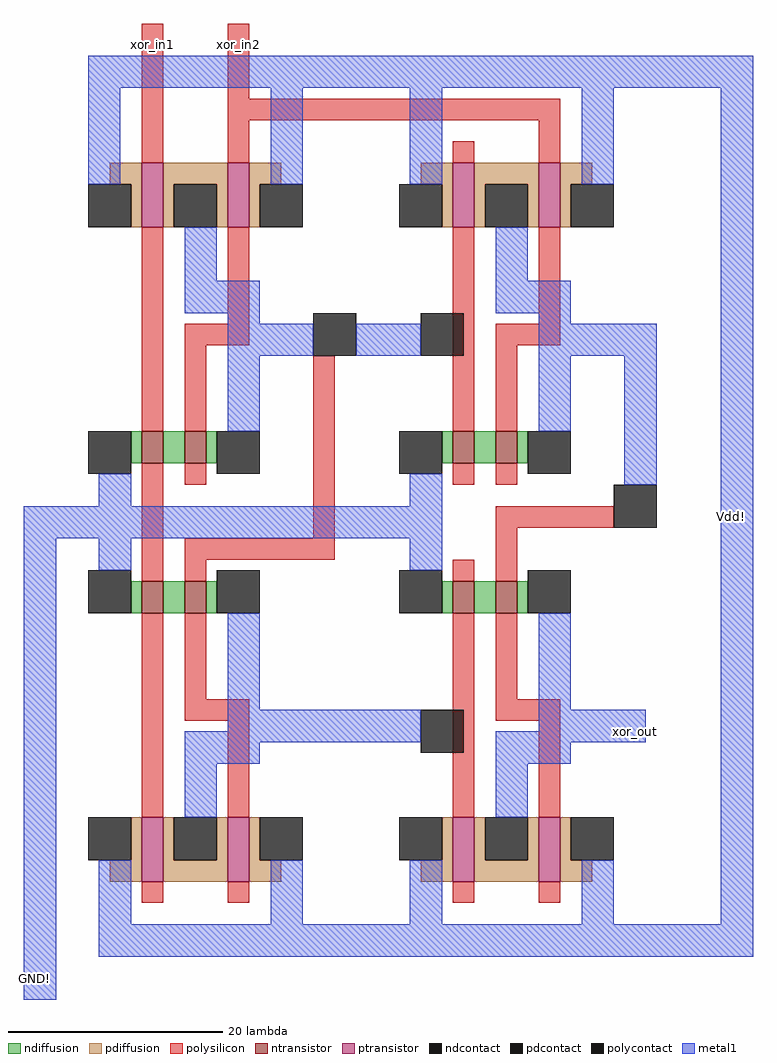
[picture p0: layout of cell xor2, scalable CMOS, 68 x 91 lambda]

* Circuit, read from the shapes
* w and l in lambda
.subckt xor2 GND! Vdd! xor_in1 xor_in2 xor_out
M1 n1 xor_in1 GND! VSUBS nfet w=3 l=2
M2 n2 xor_in1 GND! VSUBS nfet w=3 l=2
M3 nand2_4/nand_in1 nand2_2/nand_in1 n1 VSUBS nfet w=3 l=2
M4 nand2_2/nand_in1 xor_in2 n2 VSUBS nfet w=3 l=2
M5 n3 nand2_4/nand_in1 GND! VSUBS nfet w=3 l=2
M6 n4 nand2_2/nand_in1 GND! VSUBS nfet w=3 l=2
M7 xor_out nand2_4/nand_in2 n3 VSUBS nfet w=3 l=2
M8 nand2_4/nand_in2 xor_in2 n4 VSUBS nfet w=3 l=2
M9 nand2_4/nand_in1 xor_in1 Vdd! NWELL pfet w=6 l=2
M10 nand2_2/nand_in1 xor_in1 Vdd! NWELL pfet w=6 l=2
M11 Vdd! nand2_2/nand_in1 nand2_4/nand_in1 NWELL pfet w=6 l=2
M12 Vdd! xor_in2 nand2_2/nand_in1 NWELL pfet w=6 l=2
M13 xor_out nand2_4/nand_in1 Vdd! NWELL pfet w=6 l=2
M14 nand2_4/nand_in2 nand2_2/nand_in1 Vdd! NWELL pfet w=6 l=2
M15 Vdd! nand2_4/nand_in2 xor_out NWELL pfet w=6 l=2
M16 Vdd! xor_in2 nand2_4/nand_in2 NWELL pfet w=6 l=2
.ends

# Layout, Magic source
magic
tech scmos
<< polysilicon >>
rect -36 18 -34 29
rect -28 22 -26 29
rect -28 20 3 22
rect -28 18 -26 20
rect 1 18 3 20
rect -36 -21 -34 -14
rect -20 -19 -18 -2
rect -32 -21 -18 -19
rect -3 -18 8 -16
rect -3 -21 -1 -18
<< metal1 >>
rect -41 23 21 26
rect -41 14 -38 23
rect -24 14 -21 23
rect -11 14 -8 23
rect 5 14 8 23
rect -25 -2 -20 1
rect -16 -2 -10 1
rect 4 -2 12 1
rect -40 -16 -37 -13
rect -11 -16 -8 -13
rect 9 -14 12 -2
rect -47 -19 -8 -16
rect -47 -62 -44 -19
rect -40 -22 -37 -19
rect -11 -22 -8 -19
rect -25 -38 -10 -35
rect 4 -38 11 -35
rect -40 -55 -37 -49
rect -24 -55 -21 -49
rect -11 -55 -8 -49
rect 5 -55 8 -49
rect 18 -55 21 23
rect -40 -58 21 -55
<< polycontact >>
rect -20 -2 -16 2
rect -10 -2 -6 2
rect 8 -18 12 -14
rect -10 -39 -6 -35
use nand2 nand2_1
transform 1 0 3 0 1 -6
box -44 -8 -24 24
use nand2 nand2_2
transform 1 0 32 0 1 -6
box -44 -8 -24 24
use nand2 nand2_3
transform 1 0 3 0 -1 -29
box -44 -8 -24 24
use nand2 nand2_4
transform 1 0 32 0 -1 -29
box -44 -8 -24 24
<< labels >>
rlabel polysilicon -27 27 -27 27 1 xor_in2
rlabel metal1 19 -17 19 -17 1 Vdd!
rlabel metal1 -46 -60 -46 -60 1 GND!
rlabel metal1 10 -37 10 -37 1 xor_out
rlabel polysilicon -35 27 -35 27 5 xor_in1
<< end >>

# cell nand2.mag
magic
tech scmos
<< polysilicon >>
rect -39 22 -37 24
rect -31 22 -29 24
rect -39 -3 -37 16
rect -31 7 -29 16
rect -35 5 -29 7
rect -35 -3 -33 5
rect -39 -8 -37 -6
rect -35 -8 -33 -6
<< ndiffusion >>
rect -40 -6 -39 -3
rect -37 -6 -35 -3
rect -33 -6 -32 -3
<< pdiffusion >>
rect -42 20 -39 22
rect -40 16 -39 20
rect -37 20 -31 22
rect -37 16 -36 20
rect -32 16 -31 20
rect -29 20 -26 22
rect -29 16 -28 20
<< metal1 >>
rect -35 11 -32 16
rect -35 8 -28 11
rect -31 -3 -28 8
<< ntransistor >>
rect -39 -6 -37 -3
rect -35 -6 -33 -3
<< ptransistor >>
rect -39 16 -37 22
rect -31 16 -29 22
<< ndcontact >>
rect -44 -7 -40 -3
rect -32 -7 -28 -3
<< pdcontact >>
rect -44 16 -40 20
rect -36 16 -32 20
rect -28 16 -24 20
<< labels >>
rlabel ndcontact -42 -5 -42 -5 4 GND!
rlabel pdcontact -42 18 -42 18 3 Vdd!
rlabel polysilicon -38 2 -38 2 1 nand_in1
rlabel polysilicon -34 2 -34 2 1 nand_in2
rlabel metal1 -30 2 -30 2 1 nand_out
rlabel pdcontact -26 18 -26 18 3 Vdd!
<< end >>
